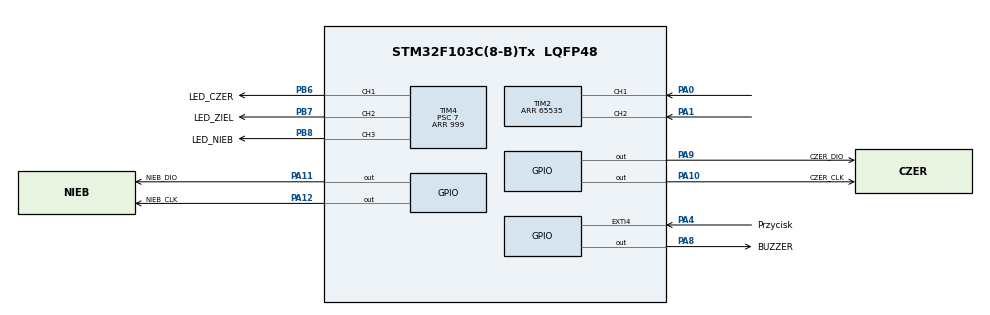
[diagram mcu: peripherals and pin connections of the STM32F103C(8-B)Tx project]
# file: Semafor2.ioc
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Mcu.Family=STM32F1
Mcu.Name=STM32F103C(8-B)Tx
Mcu.Package=LQFP48
NVIC.EXTI4_IRQn=true\:1\:0\:true\:false\:true\:true\:true
NVIC.PriorityGroup=NVIC_PRIORITYGROUP_4
PA0-WKUP.GPIO_PuPd=GPIO_PULLUP
PA0-WKUP.Signal=S_TIM2_CH1_ETR
PA1.GPIO_PuPd=GPIO_PULLUP
PA1.Signal=S_TIM2_CH2
PA10.GPIO_Label=CZER_CLK
PA10.Signal=GPIO_Output
PA11.GPIO_Label=NIEB_DIO
PA11.Signal=GPIO_Output
PA12.GPIO_Label=NIEB_CLK
PA12.Signal=GPIO_Output
PA13.Mode=Serial_Wire
PA13.Signal=SYS_JTMS-SWDIO
PA14.Mode=Serial_Wire
PA14.Signal=SYS_JTCK-SWCLK
PA4.GPIO_Label=Przycisk
PA4.GPIO_ModeDefaultEXTI=GPIO_MODE_IT_FALLING
PA4.GPIO_PuPd=GPIO_PULLUP
PA4.Signal=GPXTI4
PA8.GPIO_Label=BUZZER
PA8.Signal=GPIO_Output
PA9.GPIO_Label=CZER_DIO
PA9.Signal=GPIO_Output
PB6.GPIO_Label=LED_CZER
PB6.Signal=S_TIM4_CH1
PB7.GPIO_Label=LED_ZIEL
PB7.Signal=S_TIM4_CH2
PB8.GPIO_Label=LED_NIEB
PB8.Signal=S_TIM4_CH3
ProjectManager.HeapSize=0x200
ProjectManager.StackSize=0x400
ProjectManager.TargetToolchain=STM32CubeIDE
RCC.APB1Freq_Value=8000000
RCC.APB2Freq_Value=8000000
SH.S_TIM2_CH1_ETR.0=TIM2_CH1,Encoder_Interface
SH.S_TIM2_CH2.0=TIM2_CH2,Encoder_Interface
SH.S_TIM4_CH1.0=TIM4_CH1,PWM Generation1 CH1
SH.S_TIM4_CH2.0=TIM4_CH2,PWM Generation2 CH2
SH.S_TIM4_CH3.0=TIM4_CH3,PWM Generation3 CH3
TIM2.EncoderMode=TIM_ENCODERMODE_TI12
TIM2.IC1Filter=15
TIM2.IC2Polarity=TIM_ICPOLARITY_FALLING
TIM2.Period=65535
TIM4.Channel-PWM\ Generation1\ CH1=TIM_CHANNEL_1
TIM4.Channel-PWM\ Generation2\ CH2=TIM_CHANNEL_2
TIM4.Channel-PWM\ Generation3\ CH3=TIM_CHANNEL_3
TIM4.Period=999
TIM4.Prescaler=7
board=custom

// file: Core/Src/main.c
/* USER CODE BEGIN Header */
/**
  ******************************************************************************
  * @file           : main.c
  * @brief          : Main program body
  ******************************************************************************
  * @attention
  *
  * <h2><center>&copy; Copyright (c) 2020 STMicroelectronics.
  * All rights reserved.</center></h2>
  *
  * This software component is licensed by ST under BSD 3-Clause license,
  * the "License"; You may not use this file except in compliance with the
  * License. You may obtain a copy of the License at:
  *                        opensource.org/licenses/BSD-3-Clause
  *
  ******************************************************************************
  */
/* USER CODE END Header */
#include "main.h"
#include "tim.h"
#include "gpio.h"

void SystemClock_Config(void);

int main(void)
{

  /* MCU Configuration--------------------------------------------------------*/

  /* Reset of all peripherals, Initializes the Flash interface and the Systick. */
  HAL_Init();

  /* Configure the system clock */
  SystemClock_Config();

  /* Initialize all configured peripherals */
  MX_GPIO_Init();
  MX_TIM4_Init();
  MX_TIM2_Init();
  /* USER CODE BEGIN 2 */

  int czasJasny = 0;

  setupAll();
  uint32_t tickStart = HAL_GetTick();
  uint16_t stare = TIM2->CNT;

  /* USER CODE END 2 */

  /* Infinite loop */
  /* USER CODE BEGIN WHILE */
  while (1) {

	  if(HAL_GetTick() - tickStart > 1000 * uwTickFreq) {

		  checkPoint(); // Sprawdzanie, która drużyna przejęła cel i reagowanie na to
		  displayDark(&czasJasny);

		  tickStart = HAL_GetTick();
	  }

	  sterLed();

	  int TimerDif = TIM2->CNT - stare;
	  stare = TIM2->CNT;

	  if(TimerDif) {

		  if(przyciemniony) {

			  przyciemniony = 0;
			  tm1637SetBrightness(asgClock.bright);
		  }
		  czasJasny = 20;
	  }

	  asgClock.potenValue -= (int8_t)TimerDif;

	  if(asgClock.potenValue < 0) asgClock.potenValue = 0;
	  if(asgClock.potenValue > GAME_RANGE) asgClock.potenValue = GAME_RANGE;

    /* USER CODE END WHILE */

  }
}

void SystemClock_Config(void)
{
  RCC_OscInitTypeDef RCC_OscInitStruct = {0};
  RCC_ClkInitTypeDef RCC_ClkInitStruct = {0};

  /** Initializes the RCC Oscillators according to the specified parameters
  * in the RCC_OscInitTypeDef structure.
  */
  RCC_OscInitStruct.OscillatorType = RCC_OSCILLATORTYPE_HSI;
  RCC_OscInitStruct.HSIState = RCC_HSI_ON;
  RCC_OscInitStruct.HSICalibrationValue = RCC_HSICALIBRATION_DEFAULT;
  RCC_OscInitStruct.PLL.PLLState = RCC_PLL_NONE;
  if (HAL_RCC_OscConfig(&RCC_OscInitStruct) != HAL_OK)
  {
    Error_Handler();
  }
  /** Initializes the CPU, AHB and APB buses clocks
  */
  RCC_ClkInitStruct.ClockType = RCC_CLOCKTYPE_HCLK|RCC_CLOCKTYPE_SYSCLK
                              |RCC_CLOCKTYPE_PCLK1|RCC_CLOCKTYPE_PCLK2;
  RCC_ClkInitStruct.SYSCLKSource = RCC_SYSCLKSOURCE_HSI;
  RCC_ClkInitStruct.AHBCLKDivider = RCC_SYSCLK_DIV1;
  RCC_ClkInitStruct.APB1CLKDivider = RCC_HCLK_DIV1;
  RCC_ClkInitStruct.APB2CLKDivider = RCC_HCLK_DIV1;

  if (HAL_RCC_ClockConfig(&RCC_ClkInitStruct, FLASH_LATENCY_0) != HAL_OK)
  {
    Error_Handler();
  }
}

void Error_Handler(void)
{
}
